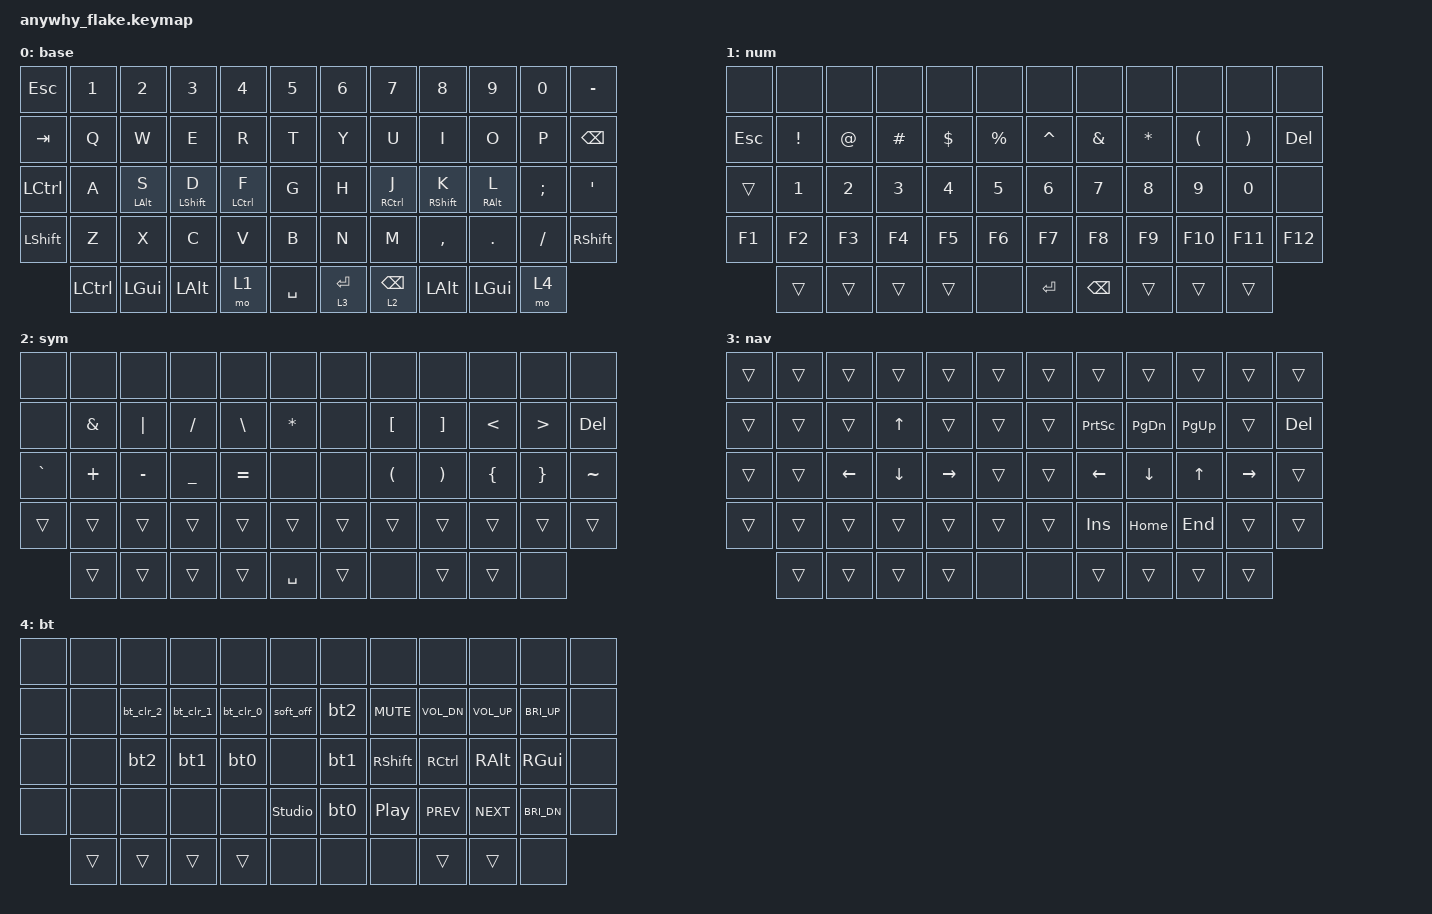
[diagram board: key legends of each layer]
                                                                                                                                                                                                                             #include <behaviors.dtsi>
#include <dt-bindings/zmk/bt.h>
#include <dt-bindings/zmk/keys.h>
#include <dt-bindings/zmk/behaviors.h>
/ {
    combos {
        compatible = "zmk,combos";

        bt_sel_3 {
            bindings = <&bt3>;
            key-positions = <42 30>;
            layers = <2>;
        };

        bt_sel_4 {
            bindings = <&bt4>;
            key-positions = <30 18>;
            layers = <2>;
        };

//     enter_gaming {
//         bindings = <&sl 3>;
//         key-positions = <26 15 28>;
//         layers = <2>;
//     };

//     leave_gaming {
//         bindings = <&sl 0>;
//         key-positions = <31 20 33>;
//         layers = <4>;
//     };

//     grave {
//          bindings = <&kp GRAVE>;
//          key-positions = <13 25>;
//          layers = <3>;
//      };
    };

    macros {
        bt_clr_0: bt_clr_0 {
            compatible = "zmk,behavior-macro";
            #binding-cells = <0>;
            bindings = <&bt BT_SEL 0 &bt BT_CLR>;
            label = "BT_CLR_0";
        };

        bt_clr_1: bt_clr_1 {
            compatible = "zmk,behavior-macro";
            #binding-cells = <0>;
            bindings = <&bt BT_SEL 1 &bt BT_CLR>;
            label = "BT_CLR_1";
        };

        bt_clr_2: bt_clr_2 {
            compatible = "zmk,behavior-macro";
            #binding-cells = <0>;
            bindings = <&bt BT_SEL 2 &bt BT_CLR>;
            label = "BT_CLR_2";
        };

        bt_clr_3: bt_clr_3 {
            compatible = "zmk,behavior-macro";
            #binding-cells = <0>;
            bindings = <&bt BT_SEL 3 &bt BT_CLR>;
            label = "BT_CLR_3";
        };

        bt_clr_4: bt_clr_4 {
            compatible = "zmk,behavior-macro";
            #binding-cells = <0>;
            bindings = <&bt BT_SEL 4 &bt BT_CLR>;
            label = "BT_CLR_4";
        };
    };

    behaviors {
        bt0: bt0 {
            compatible = "zmk,behavior-mod-morph";
            label = "BT0";
            bindings = <&bt BT_SEL 0>, <&bt_clr_0>;

            #binding-cells = <0>;
            mods = <(MOD_LSFT|MOD_RSFT)>;
        };

        bt1: bt1 {
            compatible = "zmk,behavior-mod-morph";
            label = "BT1";
            bindings = <&bt BT_SEL 1>, <&bt_clr_1>;

            #binding-cells = <0>;
            mods = <(MOD_LSFT|MOD_RSFT)>;
        };

        bt2: bt2 {
            compatible = "zmk,behavior-mod-morph";
            label = "BT2";
            bindings = <&bt BT_SEL 2>, <&bt_clr_2>;

            #binding-cells = <0>;
            mods = <(MOD_LSFT|MOD_RSFT)>;
        };

        bt3: bt3 {
            compatible = "zmk,behavior-mod-morph";
            label = "BT3";
            bindings = <&bt BT_SEL 3>, <&bt_clr_3>;

            #binding-cells = <0>;
            mods = <(MOD_LSFT|MOD_RSFT)>;
        };

        bt4: bt4 {
            compatible = "zmk,behavior-mod-morph";
            label = "BT4";
            bindings = <&bt BT_SEL 4>, <&bt_clr_4>;

            #binding-cells = <0>;
            mods = <(MOD_LSFT|MOD_RSFT)>;
        };
        hml: home_row_mod_left {
            compatible = "zmk,behavior-hold-tap";
            #binding-cells = <2>;
            flavor = "balanced";
            require-prior-idle-ms = <150>;
            tapping-term-ms = <280>;
            quick-tap-ms = <175>;
            bindings = <&kp>, <&kp>;
            //hold-trigger-key-positions = < ... >; // List of keys on the right side of the keyboard
            hold-trigger-on-release;
        };
        hmr: home_row_mod_right {
            compatible = "zmk,behavior-hold-tap";
            #binding-cells = <2>;
            flavor = "balanced";
            require-prior-idle-ms = <150>;
            tapping-term-ms = <280>;
            quick-tap-ms = <175>;
            bindings = <&kp>, <&kp>;
            //hold-trigger-key-positions = < ... >; // List of keys on the left side of the keyboard
            hold-trigger-on-release;
        };
    };

    keymap {
        compatible = "zmk,keymap";
        base { // layer 0
         bindings = <
&kp ESC    &kp N1      &kp N2       &kp N3         &kp N4         &kp N5            &kp N6        &kp N7         &kp N8         &kp N9        &kp N0          &kp MINUS
&kp TAB    &kp Q       &kp W        &kp E          &kp R          &kp T             &kp Y         &kp U          &kp I          &kp O         &kp P           &kp BSPC
&kp LCTRL  &kp A       &hml LALT S  &hml LSHFT D   &hml LCTRL F   &kp G             &kp H         &hmr RCTRL J   &hmr RSHFT K   &hmr RALT L   &kp SEMI        &kp APOS
&kp LSHFT  &kp Z       &kp X        &kp C          &kp V          &kp B             &kp N         &kp M          &kp COMMA      &kp DOT       &kp FSLH        &kp RSHFT
           &kp LCTRL   &kp LGUI     &kp LALT       &mo 1          &kp SPACE         &lt 3 ENTER   &lt 2 BSPC     &kp LALT       &kp LGUI      &mo 4
            >;
        };
        num { // layer 1
            bindings = <
&none    &none     &none       &none      &none      &none           &none      &none       &none     &none      &none      &none
&kp ESC  &kp EXCL  &kp AT      &kp HASH   &kp DLLR   &kp PRCNT       &kp CARET  &kp AMPS    &kp STAR  &kp LPAR   &kp RPAR   &kp DEL
&trans   &kp N1    &kp N2      &kp N3     &kp N4     &kp N5          &kp N6     &kp N7      &kp N8    &kp N9     &kp N0     &none
&kp F1   &kp F2    &kp F3      &kp F4     &kp F5     &kp F6          &kp F7     &kp F8      &kp F9    &kp F10    &kp F11    &kp F12
         &trans    &trans      &trans     &trans     &none           &kp ENTER  &kp BSPC    &trans    &trans     &trans
            >;
        };
        sym { // layer 2
            bindings = <
&none       &none    &none      &none      &none     &none             &none  &none     &none     &none     &none     &none
&none       &kp AMPS &kp PIPE   &kp FSLH   &kp BSLH  &kp STAR          &none  &kp LBKT  &kp RBKT  &kp LT    &kp GT    &kp DEL
&kp GRAVE   &kp PLUS &kp MINUS  &kp UNDER  &kp EQUAL &none             &none  &kp LPAR  &kp RPAR  &kp LBRC  &kp RBRC  &kp TILDE
&trans      &trans   &trans     &trans     &trans    &trans            &trans &trans    &trans    &trans    &trans    &trans
            &trans   &trans     &trans     &trans    &kp SPACE         &trans &none     &trans    &trans    &none
            >;
        };
        nav { // layer 3
            bindings = <
&trans  &trans  &trans    &trans    &trans     &trans            &trans  &trans    &trans    &trans     &trans     &trans
&trans  &trans  &trans    &kp UP    &trans     &trans            &trans  &kp PSCRN &kp PG_DN &kp PG_UP  &trans     &kp DEL
&trans  &trans  &kp LEFT  &kp DOWN  &kp RIGHT  &trans            &trans  &kp LEFT  &kp DOWN  &kp UP     &kp RIGHT  &trans
&trans  &trans  &trans    &trans    &trans     &trans            &trans  &kp INS   &kp HOME  &kp END    &trans     &trans
        &trans  &trans    &trans    &trans     &none             &none   &trans    &trans    &trans     &trans
            >;
        };
        bt { // layer 4
           bindings = <
&none  &none  &none         &none         &none         &none                &none  &none       &none         &none         &none         &none
&none  &none  &bt_clr_2     &bt_clr_1     &bt_clr_0     &soft_off            &bt2   &kp C_MUTE  &kp C_VOL_DN  &kp C_VOL_UP  &kp C_BRI_UP  &none
&none  &none  &bt2          &bt1          &bt0          &none                &bt1   &kp RSHFT   &kp RCTRL     &kp RALT      &kp RGUI      &none
&none  &none  &none         &none         &none         &studio_unlock       &bt0   &kp C_PP    &kp C_PREV    &kp C_NEXT    &kp C_BRI_DN  &none
       &trans &trans        &trans        &trans        &none                &none  &none       &trans        &trans        &none
            >;
        };
    };
};
